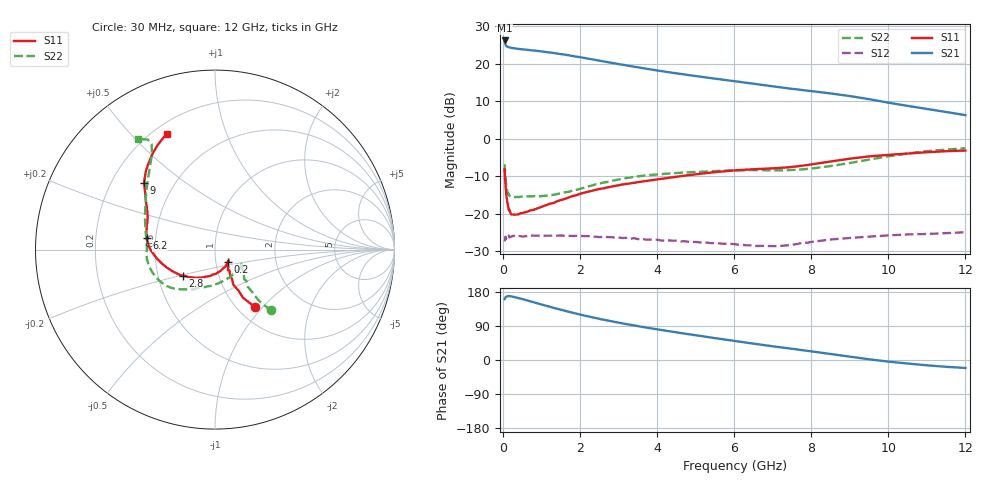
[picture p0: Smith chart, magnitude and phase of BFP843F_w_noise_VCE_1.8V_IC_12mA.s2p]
! Infineon Technologies  Discrete & RF Semiconductors
! BFP843F
! VCE =  1.8 V,  IC =  12 mA
! Common Emitter S-Parameters:  Aug 2013
# GHz  S  MA  R  50
!  f  S11  S21  S12  S22
! GHz  MAG  ANG  MAG  ANG  MAG  ANG  MAG  ANG
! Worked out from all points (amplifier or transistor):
!   103 points, 30 MHz to 12 GHz, reference 50 ohm
!   highest |S21| = 26.3 dB at 30 MHz (marker M1)
!   |S21| within 3 dB of that: start of sweep to 1.046 GHz
!   unconditionally stable (mu >= 1): 149.4 MHz to end of sweep
!   at 400 MHz: K = 1.01, MAG = 24.3 dB, |S12| = -26.0 dB
!   at 3.7 GHz: K = 1.17, MAG = 20.3 dB, |S12| = -26.9 dB
!   at 12 GHz: K = 1.29, MAG = 12.4 dB, |S12| = -24.9 dB
!   lowest NFmin = 0.81 dB at 450 MHz
!   S11 on the Smith chart (normalised r, x): 30 MHz: 1.20, -0.92; 200 MHz: 1.14, -0.16; 2.8 GHz: 0.67, -0.21; 6.2 GHz: 0.45, +0.07; 9 GHz: 0.34, +0.36; 12 GHz: 0.25, +0.64
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0.03  0.393 -55.0  20.55 160.8  0.0428 29.0  0.4597 -47.5
0.04  0.311 -59.8  19.14 162.1  0.0453 21.3  0.3695 -49.4
0.05  0.264 -60.2  18.22 165.0  0.0494 20.9  0.3201 -48.8
0.08  0.1689 -59.6  17.27 167.5  0.0481 14.5  0.2308 -45.2
0.13  0.1228 -52.5  16.7 168.7  0.0493 6.4  0.1811 -34.6
0.2  0.098 -43.3  16.38 167.9  0.0494 5.2  0.1684 -27.7
0.6  0.1058 -53.1  15.46 157.7  0.0504 2.2  0.1705 -36.1
0.9  0.119 -71.9  14.87 149.0  0.0512 0.5  0.1702 -51.6
1.3  0.139 -95.2  13.99 137.7  0.0511 -1.5  0.1793 -74.0
1.7  0.1656 -111.8  13.01 127.1  0.0509 -2.3  0.197 -92.9
2.1  0.1917 -125.1  12.01 117.3  0.0505 -3.9  0.2228 -108.9
2.8  0.2303 -140.8  10.35 102.4  0.0488 -5.0  0.2745 -126.0
3.4  0.2595 -151.1  9.155 91.1  0.0473 -5.4  0.3115 -135.7
4.1  0.2928 -161.7  8.034 79.2  0.044 -5.6  0.338 -144.0
5  0.3366 -173.8  6.881 65.2  0.0421 -3.7  0.3612 -154.5
6.1  0.3826 172.1  5.792 48.9  0.0388 0.1  0.38 -168.2
6.2  0.3848 170.4  5.7 47.4  0.0386 0.5  0.3812 -169.5
7.1  0.4072 157.7  4.941 34.8  0.037 9.6  0.3796 178.7
8.5  0.4989 141.2  4.036 15.8  0.0454 17.8  0.4333 154.3
9  0.5438 136.6  3.721 8.8  0.0476 17.8  0.4768 144.1
10.5  0.6367 123.2  2.753 -9.3  0.0531 17.6  0.6378 123.4
12  0.6988 112.4  2.072 -21.0  0.0568 20.5  0.7506 124.7
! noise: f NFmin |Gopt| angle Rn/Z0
0.45  0.81  0.02  23  0.02
0.9  0.82  0.03  51  0.02
1.5  0.85  0.03  71  0.03
1.9  0.9  0.04  97  0.04
2.4  0.94  0.05  115  0.05
3.5  0.99  0.08  142  0.11
5.5  1.1  0.16  -167  0.19
10  1.65  0.36  -112  0.29
